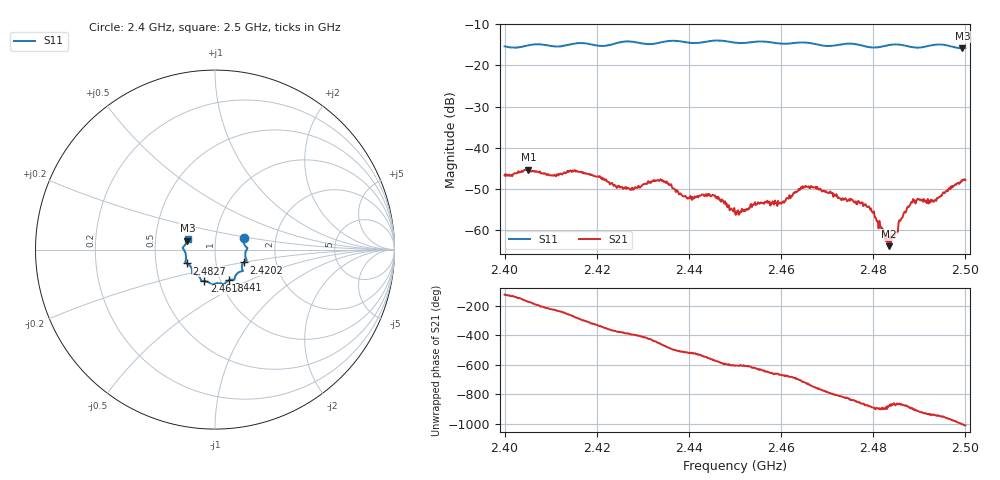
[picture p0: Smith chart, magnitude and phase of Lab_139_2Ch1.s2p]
# Hz S RI R 50
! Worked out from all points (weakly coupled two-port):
!   601 points, 2.4 GHz to 2.5 GHz, reference 50 ohm
!   highest |S21| = -45.34 dB at 2.4052 GHz (marker M1); lowest = -64.0 dB at 2.4833 GHz (marker M2)
!   lowest |S11| = -15.8 dB at 2.4993 GHz (marker M3), VSWR 1.39, Z = 36.5 + j3.8 ohm
!   |S11| at or under -10 dB: start of sweep to end of sweep
!   S12 and S22 are empty: the file has one direction only
!   S11 on the Smith chart (normalised r, x): 2.4 GHz: 1.36, +0.18; 2.4202 GHz: 1.36, -0.20; 2.441 GHz: 1.10, -0.39; 2.4618 GHz: 0.84, -0.30; 2.4827 GHz: 0.72, -0.11; 2.5 GHz: 0.73, +0.09
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2.4e9  0.1588 0.0629  -0.00266 -0.00375  0 0  0 0
2.405167e9  0.1753 0.0134  -0.00539 -0.000512  0 0  0 0
2.410667e9  0.1704 -0.0131  -0.00309 0.00337  0 0  0 0
2.416667e9  0.1773 -0.0608  0.00221 0.00455  0 0  0 0
2.420167e9  0.1591 -0.0716  0.00397 0.00205  0 0  0 0
2.4275e9  0.1544 -0.1195  0.00249 -0.00181  0 0  0 0
2.433333e9  0.1118 -0.1508  -0.000123 -0.00403  0 0  0 0
2.441e9  0.079 -0.17  -0.00232 -0.000674  0 0  0 0
2.4455e9  0.0508 -0.1943  -0.0023 0.00126  0 0  0 0
2.45e9  0.0286 -0.1874  -0.000613 0.0015  0 0  0 0
2.461833e9  -0.059 -0.1756  0.00209 0.00163  0 0  0 0
2.464833e9  -0.076 -0.1746  0.00323 0.000227  0 0  0 0
2.466667e9  -0.079 -0.1684  0.00303 -0.00136  0 0  0 0
2.478667e9  -0.1287 -0.1092  -0.00173 -0.000798  0 0  0 0
2.482667e9  -0.156 -0.0771  -0.000736 3.85e-06  0 0  0 0
2.483333e9  -0.1603 -0.0751  -0.000607 -0.000182  0 0  0 0
2.484833e9  -0.1654 -0.0715  -0.000881 -0.000403  0 0  0 0
2.486167e9  -0.165 -0.066  -0.00119 -0.000727  0 0  0 0
2.4885e9  -0.1612 -0.0438  -0.00215 -0.000203  0 0  0 0
2.493167e9  -0.1781 0.00565  -0.00176 0.00132  0 0  0 0
2.499333e9  -0.1538 0.0507  0.00083 0.00387  0 0  0 0
2.5e9  -0.1521 0.0604  0.00147 0.00378  0 0  0 0
